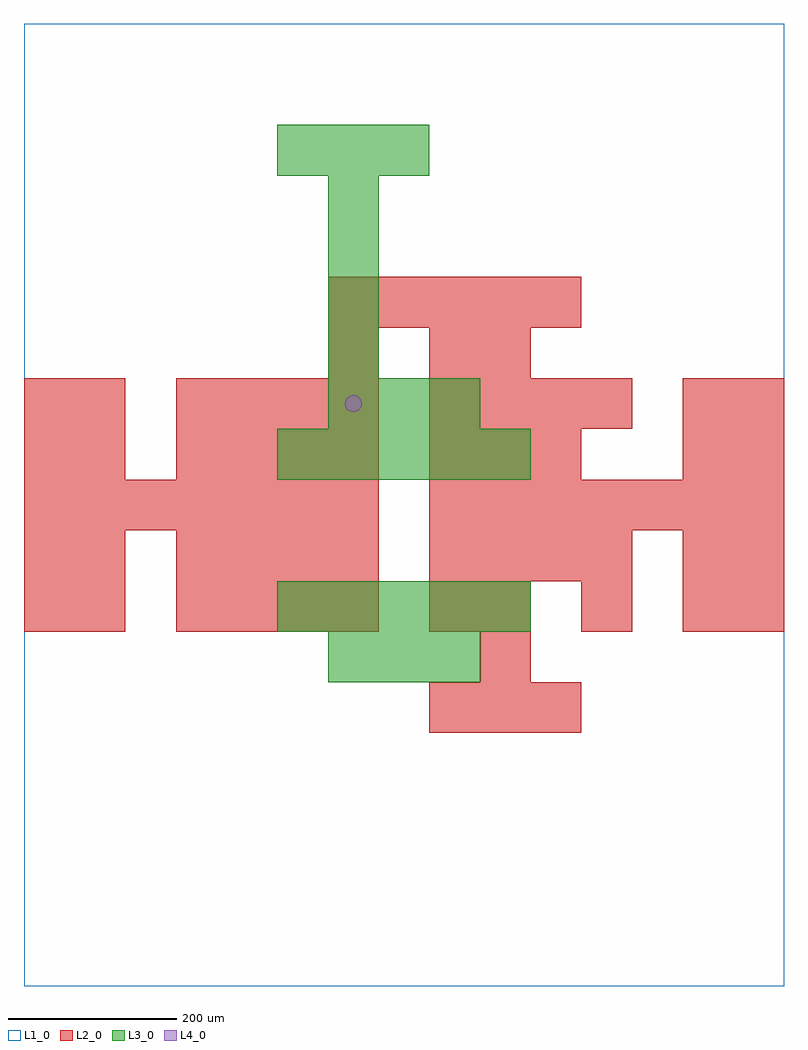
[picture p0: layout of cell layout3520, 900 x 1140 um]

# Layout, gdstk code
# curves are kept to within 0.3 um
import gdstk
lib = gdstk.Library(unit=1e-6, precision=1e-09)
def R(c, l, rs):  # rectangles x0, y0, x1, y1
    for r in rs: c.add(gdstk.rectangle(r[:2], r[2:], *l))
def A(c, l, x, y, w, h, nx, ny, dx, dy):  # array of equal rectangles
    R(c, l, [(x+i*dx, y+j*dy, x+i*dx+w, y+j*dy+h) for i in range(nx) for j in range(ny)])
def P(c, l, *ps):  # polygons
    for p in ps: c.add(gdstk.Polygon(p, *l))
L1_0 = (1, 0)
L2_0 = (2, 0)
L3_0 = (3, 0)
L4_0 = (4, 0)

layout3520 = lib.new_cell('layout3520')
R(layout3520, L1_0, [(0,0,900,1140)])
A(layout3520, L2_0, 480, 300, 60, 60, 3, 2, 60, 300)
A(layout3520, L2_0, 180, 420, 60, 60, 4, 2, 60, 60)
A(layout3520, L2_0, 540, 420, 60, 60, 3, 1, 120, 0)
A(layout3520, L2_0, 480, 480, 60, 60, 4, 2, 60, 180)
A(layout3520, L2_0, 0, 540, 60, 60, 7, 1, 60, 0)
A(layout3520, L2_0, 480, 540, 60, 60, 7, 1, 60, 0)
A(layout3520, L2_0, 180, 600, 60, 60, 4, 2, 60, 60)
A(layout3520, L2_0, 360, 780, 60, 60, 5, 1, 60, 0)
R(layout3520, L2_0, [(540,360,600,420), (0,420,60,480), (60,420,120,480), (480,420,540,480), (840,420,900,480), (0,480,60,540), (60,480,120,540), (780,480,840,540), (840,480,900,540), (0,600,60,660), (60,600,120,660), (780,600,840,660), (840,600,900,660), (0,660,60,720), (60,660,120,720), (780,660,840,720), (840,660,900,720), (360,720,420,780), (480,720,540,780), (540,720,600,780)])
A(layout3520, L3_0, 360, 360, 60, 60, 3, 2, 60, 300)
A(layout3520, L3_0, 300, 420, 60, 60, 5, 2, 60, 180)
A(layout3520, L3_0, 360, 720, 60, 60, 1, 4, 0, 60)
A(layout3520, L3_0, 300, 960, 60, 60, 3, 1, 60, 0)
P(layout3520, L4_0, [(400,690),(399.239,693.827),(397.071,697.071),(393.827,699.239),(390,700),(386.173,699.239),(382.929,697.071),(380.761,693.827),(380,690),(380.761,686.173),(382.929,682.929),(386.173,680.761),(390,680),(393.827,680.761),(397.071,682.929),(399.239,686.173)])

lib.write_gds('layout3520.gds')
